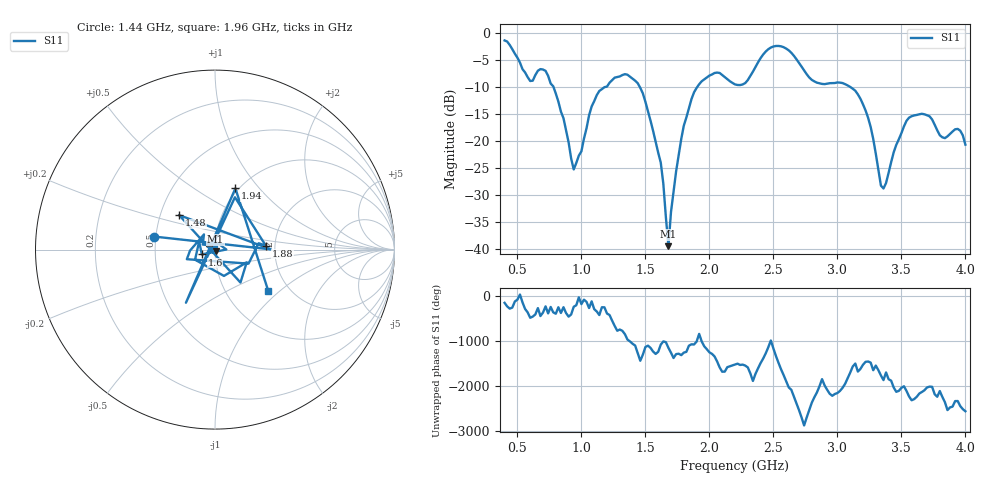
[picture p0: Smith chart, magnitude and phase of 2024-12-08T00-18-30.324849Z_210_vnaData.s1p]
!Created with skrf (http://scikit-rf.org).
# Hz S RI R 50.0
!freq ReS11 ImS11
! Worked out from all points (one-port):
!   181 points, 400 MHz to 4 GHz, reference 50 ohm
!   lowest |S11| = -39.5 dB at 1.68 GHz (marker M1), VSWR 1.02, Z = 50.3 - j1.01 ohm
!   |S11| at or under -10 dB: 782.7 MHz to 1.179 GHz (396 MHz wide, 40.4 % of centre); 1.458 GHz to 1.903 GHz (445.9 MHz wide, 26.5 % of centre); 3.104 GHz to end of sweep
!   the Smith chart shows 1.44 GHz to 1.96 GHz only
!   S11 on the Smith chart (normalised r, x): 1.44 GHz: 0.49, +0.08; 1.48 GHz: 0.62, +0.26; 1.6 GHz: 0.86, -0.05; 1.88 GHz: 1.79, +0.08; 1.94 GHz: 0.96, +0.76; 1.96 GHz: 1.57, -0.84
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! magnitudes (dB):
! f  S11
! 400 MHz  -1.3
! 600 MHz  -8.8
! 720 MHz  -7.0
! 860 MHz  -15.7
! 940 MHz  -25.3
! 1.12 GHz  -11.5
! 1.3 GHz  -8.0
! 1.44 GHz  -9.2
! 1.48 GHz  -11.1
! 1.6 GHz  -22.1
! 1.64 GHz  -27.9
! 1.68 GHz  -39.5
! 1.76 GHz  -22.6
! 1.88 GHz  -10.9
! 1.94 GHz  -8.9
! 1.96 GHz  -8.5
! 2.2 GHz  -9.5
! 2.48 GHz  -2.6
! 2.66 GHz  -4.1
! 2.82 GHz  -8.9
! 3.1 GHz  -9.9
! 3.24 GHz  -15.7
! 3.36 GHz  -28.8
! 3.56 GHz  -15.6
! 3.72 GHz  -15.4
! 3.84 GHz  -19.4
! 3.94 GHz  -17.7
! 4 GHz  -20.7
